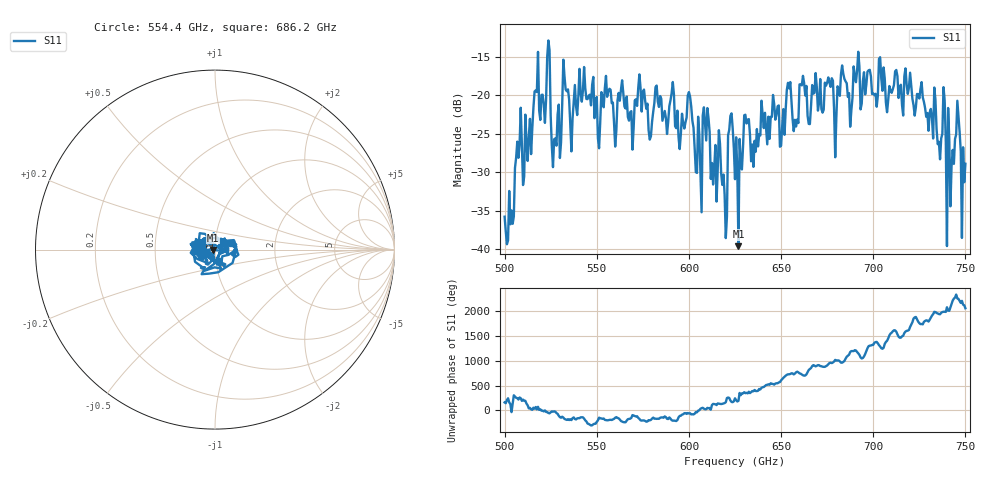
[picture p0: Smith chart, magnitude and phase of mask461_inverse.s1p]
!Created with skrf (http://scikit-rf.org).
# GHz S MA R 50.0
!freq magS11 angS11
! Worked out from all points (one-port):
!   401 points, 500 GHz to 750 GHz, reference 50 ohm
!   lowest |S11| = -39.6 dB at 626.9 GHz (marker M1), VSWR 1.02, Z = 49 - j0.211 ohm
!   |S11| at or under -10 dB: start of sweep to end of sweep
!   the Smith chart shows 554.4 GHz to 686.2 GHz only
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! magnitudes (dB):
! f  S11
! 500 GHz  -35.8
! 516.9 GHz  -19.4
! 523.8 GHz  -12.9
! 526.9 GHz  -25.7
! 531.2 GHz  -21.2
! 562.5 GHz  -20.7
! 579.4 GHz  -25.4
! 590.6 GHz  -19.7
! 593.8 GHz  -22.0
! 600.6 GHz  -20.2
! 605.6 GHz  -25.1
! 609.4 GHz  -25.9
! 619.4 GHz  -33.0
! 622.5 GHz  -22.7
! 625 GHz  -30.9
! 626.9 GHz  -39.6
! 631.2 GHz  -23.7
! 635 GHz  -29.3
! 656.2 GHz  -23.1
! 680 GHz  -22.8
! 683.8 GHz  -17.2
! 687.5 GHz  -24.1
! 690.6 GHz  -18.3
! 718.8 GHz  -19.8
! 738.1 GHz  -19.0
! 741.2 GHz  -25.7
! 745.6 GHz  -20.7
! 750 GHz  -28.9
